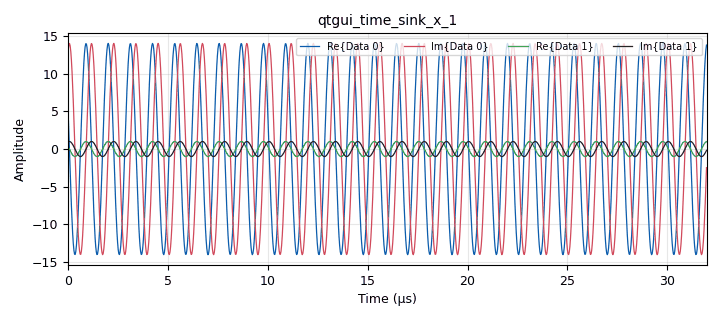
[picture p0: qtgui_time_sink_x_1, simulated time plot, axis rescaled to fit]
<?xml version='1.0' encoding='utf-8'?>
<?grc format='1' created='3.7.14'?>
<flow_graph>
<block>
<key>options</key>
<param><key>id</key><value>top_block</value></param>
<param><key>generate_options</key><value>qt_gui</value></param>
</block>
<block>
<key>variable</key>
<param><key>id</key><value>d0</value></param>
<param><key>value</key><value>20.0</value></param>
</block>
<block>
<key>variable_qtgui_range</key>
<param><key>id</key><value>distance</value></param>
<param><key>value</key><value>10</value></param>
<param><key>orient</key><value>Qt.Horizontal</value></param>
<param><key>start</key><value>10</value></param>
<param><key>step</key><value>10</value></param>
<param><key>stop</key><value>500</value></param>
</block>
<block>
<key>variable</key>
<param><key>id</key><value>frequency</value></param>
<param><key>value</key><value>900e3</value></param>
</block>
<block>
<key>variable</key>
<param><key>id</key><value>gamma</value></param>
<param><key>value</key><value>3</value></param>
</block>
<block>
<key>variable</key>
<param><key>id</key><value>k</value></param>
<param><key>value</key><value>pow((wavelength/(4*scipy.constants.pi*d0)),2)</value></param>
</block>
<block>
<key>variable</key>
<param><key>id</key><value>samp_rate</value></param>
<param><key>value</key><value>32e6</value></param>
</block>
<block>
<key>variable</key>
<param><key>id</key><value>wavelength</value></param>
<param><key>value</key><value>scipy.constants.c/frequency</value></param>
</block>
<block>
<key>analog_sig_source_x</key>
<param><key>id</key><value>analog_sig_source_x_0</value></param>
<param><key>amp</key><value>1</value></param>
<param><key>freq</key><value>frequency</value></param>
<param><key>offset</key><value>0</value></param>
<param><key>type</key><value>complex</value></param>
<param><key>samp_rate</key><value>samp_rate</value></param>
<param><key>waveform</key><value>analog.GR_COS_WAVE</value></param>
</block>
<block>
<key>blocks_complex_to_mag</key>
<param><key>id</key><value>blocks_complex_to_mag_0</value></param>
</block>
<block>
<key>blocks_complex_to_mag_squared</key>
<param><key>id</key><value>blocks_complex_to_mag_squared_0</value></param>
</block>
<block>
<key>epy_block</key>
<param><key>id</key><value>epy_block_0</value></param>
<param><key>_source_code</key><value>"""
Embedded Python Blocks:

Each time this file is saved, GRC will instantiate the first class it finds
to get ports and parameters of your block. The arguments to __init__  will
be the parameters. All of them are required to have default values!
"""

import numpy as np
from gnuradio import gr
import math

def path_lossFunc(pt, k, d0, d, gamma):
    	return pt * k * ((d0 / d) ** gamma)

class blk(gr.sync_block):  # other base classes are basic_block, decim_block, interp_block
    """Embedded Python Block example - a simple multiply const"""

    def __init__(self, k = 0, d0 = 0, d = 0, gamma = 0):  # only default arguments here
        """arguments to this function show up as parameters in GRC"""
        gr.sync_block.__init__(
            self,
            name='Embedded Python Block',   # will show up in GRC
            in_sig=[np.complex64],
            out_sig=[np.complex64]
        )
        # if an attribute with the same name as a parameter is found,
        # a callback is registered (properties work, too).
        self.k = k
	self.d0 = d0
	self.d = d
	self.gamma = gamma


    def work(self, input_items, output_items):
    
    	# Parameters for path loss calculation
    	pt = 1  # Transmitter power
    	k = self.k   # Constant factor
    	d0 = self.d0  # Reference distance
    	gamma = self.gamma  # Path loss exponent
	d = self.d
    
    	# Output the result
    	output_items[0][:] = input_items[0]*k*(d0/d)**gamma
    
    	return len(output_items[0])



</value></param>
<param><key>d</key><value>distance</value></param>
<param><key>d0</key><value>d0</value></param>
<param><key>gamma</key><value>gamma</value></param>
<param><key>k</key><value>k</value></param>
</block>
<block>
<key>import</key>
<param><key>id</key><value>import_0</value></param>
<param><key>import</key><value>import numpy</value></param>
</block>
<block>
<key>import</key>
<param><key>id</key><value>import_1</value></param>
<param><key>import</key><value>import scipy.constants</value></param>
</block>
<block>
<key>qtgui_number_sink</key>
<param><key>id</key><value>qtgui_number_sink_0</value></param>
<param><key>graph_type</key><value>qtgui.NUM_GRAPH_HORIZ</value></param>
<param><key>type</key><value>float</value></param>
<param><key>color1</key><value>("black", "white")</value></param>
<param><key>label1</key><value>SPL</value></param>
<param><key>color2</key><value>("white", "black")</value></param>
<param><key>label2</key><value>LOS</value></param>
<param><key>nconnections</key><value>2</value></param>
</block>
<block>
<key>qtgui_time_sink_x</key>
<param><key>id</key><value>qtgui_time_sink_x_1</value></param>
<param><key>color1</key><value>"blue"</value></param>
<param><key>label1</key><value></value></param>
<param><key>color2</key><value>"red"</value></param>
<param><key>label2</key><value></value></param>
<param><key>color3</key><value>"green"</value></param>
<param><key>label3</key><value></value></param>
<param><key>color4</key><value>"black"</value></param>
<param><key>label4</key><value></value></param>
<param><key>nconnections</key><value>2</value></param>
<param><key>size</key><value>1024</value></param>
<param><key>srate</key><value>samp_rate</value></param>
<param><key>type</key><value>complex</value></param>
</block>
<connection><source_block_id>analog_sig_source_x_0</source_block_id><sink_block_id>blocks_complex_to_mag_squared_0</sink_block_id><source_key>0</source_key><sink_key>0</sink_key></connection>
<connection><source_block_id>analog_sig_source_x_0</source_block_id><sink_block_id>epy_block_0</sink_block_id><source_key>0</source_key><sink_key>0</sink_key></connection>
<connection><source_block_id>analog_sig_source_x_0</source_block_id><sink_block_id>qtgui_time_sink_x_1</sink_block_id><source_key>0</source_key><sink_key>1</sink_key></connection>
<connection><source_block_id>blocks_complex_to_mag_0</source_block_id><sink_block_id>qtgui_number_sink_0</sink_block_id><source_key>0</source_key><sink_key>0</sink_key></connection>
<connection><source_block_id>blocks_complex_to_mag_squared_0</source_block_id><sink_block_id>qtgui_number_sink_0</sink_block_id><source_key>0</source_key><sink_key>1</sink_key></connection>
<connection><source_block_id>epy_block_0</source_block_id><sink_block_id>blocks_complex_to_mag_0</sink_block_id><source_key>0</source_key><sink_key>0</sink_key></connection>
<connection><source_block_id>epy_block_0</source_block_id><sink_block_id>qtgui_time_sink_x_1</sink_block_id><source_key>0</source_key><sink_key>0</sink_key></connection>
</flow_graph>
